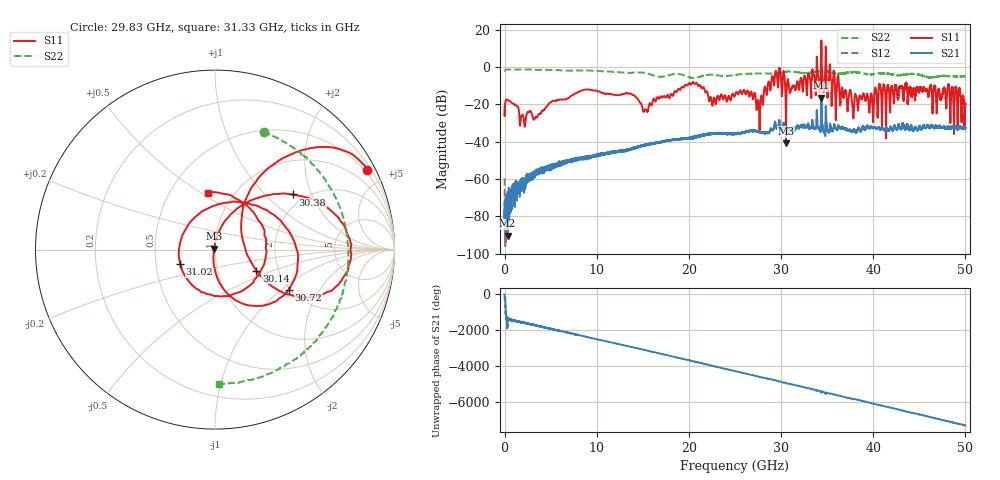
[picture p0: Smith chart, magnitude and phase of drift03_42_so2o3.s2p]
!Created with skrf (http://scikit-rf.org).
# Hz S RI R 50.0
!freq ReS11 ImS11 ReS21 ImS21 ReS12 ImS12 ReS22 ImS22
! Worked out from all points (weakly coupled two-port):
!   10001 points, 300 kHz to 50 GHz, reference 50 ohm
!   highest |S21| = -16.44 dB at 34.37 GHz (marker M1); lowest = -90.5 dB at 320.3 MHz (marker M2)
!   lowest |S11| = -41.0 dB at 30.53 GHz (marker M3), VSWR 1.02, Z = 49.2 + j0.464 ohm
!   |S11| at or under -10 dB: start of sweep to 19.56 GHz; 21.25 GHz to 28.55 GHz (7.297 GHz wide, 29.3 % of centre); 36.28 GHz to 40.62 GHz (4.339 GHz wide, 11.3 % of centre) (the widest 3 of 38)
!   |S22| runs from -5.9 to -1.3 dB; largest |S21 - S12| = 0.024
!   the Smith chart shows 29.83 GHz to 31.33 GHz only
!   S11 on the Smith chart (normalised r, x): 29.83 GHz: 0.42, +4.03; 30.14 GHz: 1.54, -0.39; 30.38 GHz: 1.73, +1.48; 30.72 GHz: 1.97, -1.12; 31.02 GHz: 0.67, -0.11; 31.33 GHz: 0.76, +0.53
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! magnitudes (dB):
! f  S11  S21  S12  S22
! 300 kHz  -21.6  -73.8  -59.8  -2.0
! 320.3 MHz  -17.7  -90.5  -79.1  -1.4
! 3.3 GHz  -27.2  -56.0  -56.0  -1.5
! 8.335 GHz  -12.6  -49.1  -49.1  -1.9
! 15.29 GHz  -22.8  -41.6  -41.9  -3.3
! 16.67 GHz  -16.5  -40.3  -40.6  -5.2
! 20.26 GHz  -9.2  -38.4  -38.0  -5.8
! 22.71 GHz  -16.4  -35.7  -35.5  -4.2
! 25 GHz  -15.3  -35.7  -35.8  -4.3
! 27.53 GHz  -17.8  -34.6  -34.3  -3.5
! 29.83 GHz  -0.4  -29.3  -28.5  -3.0
! 30.14 GHz  -11.8  -33.5  -33.6  -2.8
! 30.38 GHz  -5.5  -31.9  -32.4  -2.6
! 30.53 GHz  -41.0  -34.0  -34.0  -2.5
! 30.72 GHz  -6.6  -33.0  -32.7  -2.5
! 31.02 GHz  -13.5  -34.4  -34.2  -2.4
! 31.33 GHz  -9.9  -32.6  -32.3  -2.5
! 33.34 GHz  -7.5  -31.2  -31.3  -2.9
! 34.37 GHz  14.2  -16.4  -17.4  -2.3
! 37.86 GHz  -27.3  -33.8  -34.2  -2.8
! 41.67 GHz  -11.6  -34.3  -33.9  -3.7
! 50 GHz  -19.8  -32.9  -32.4  -5.0
